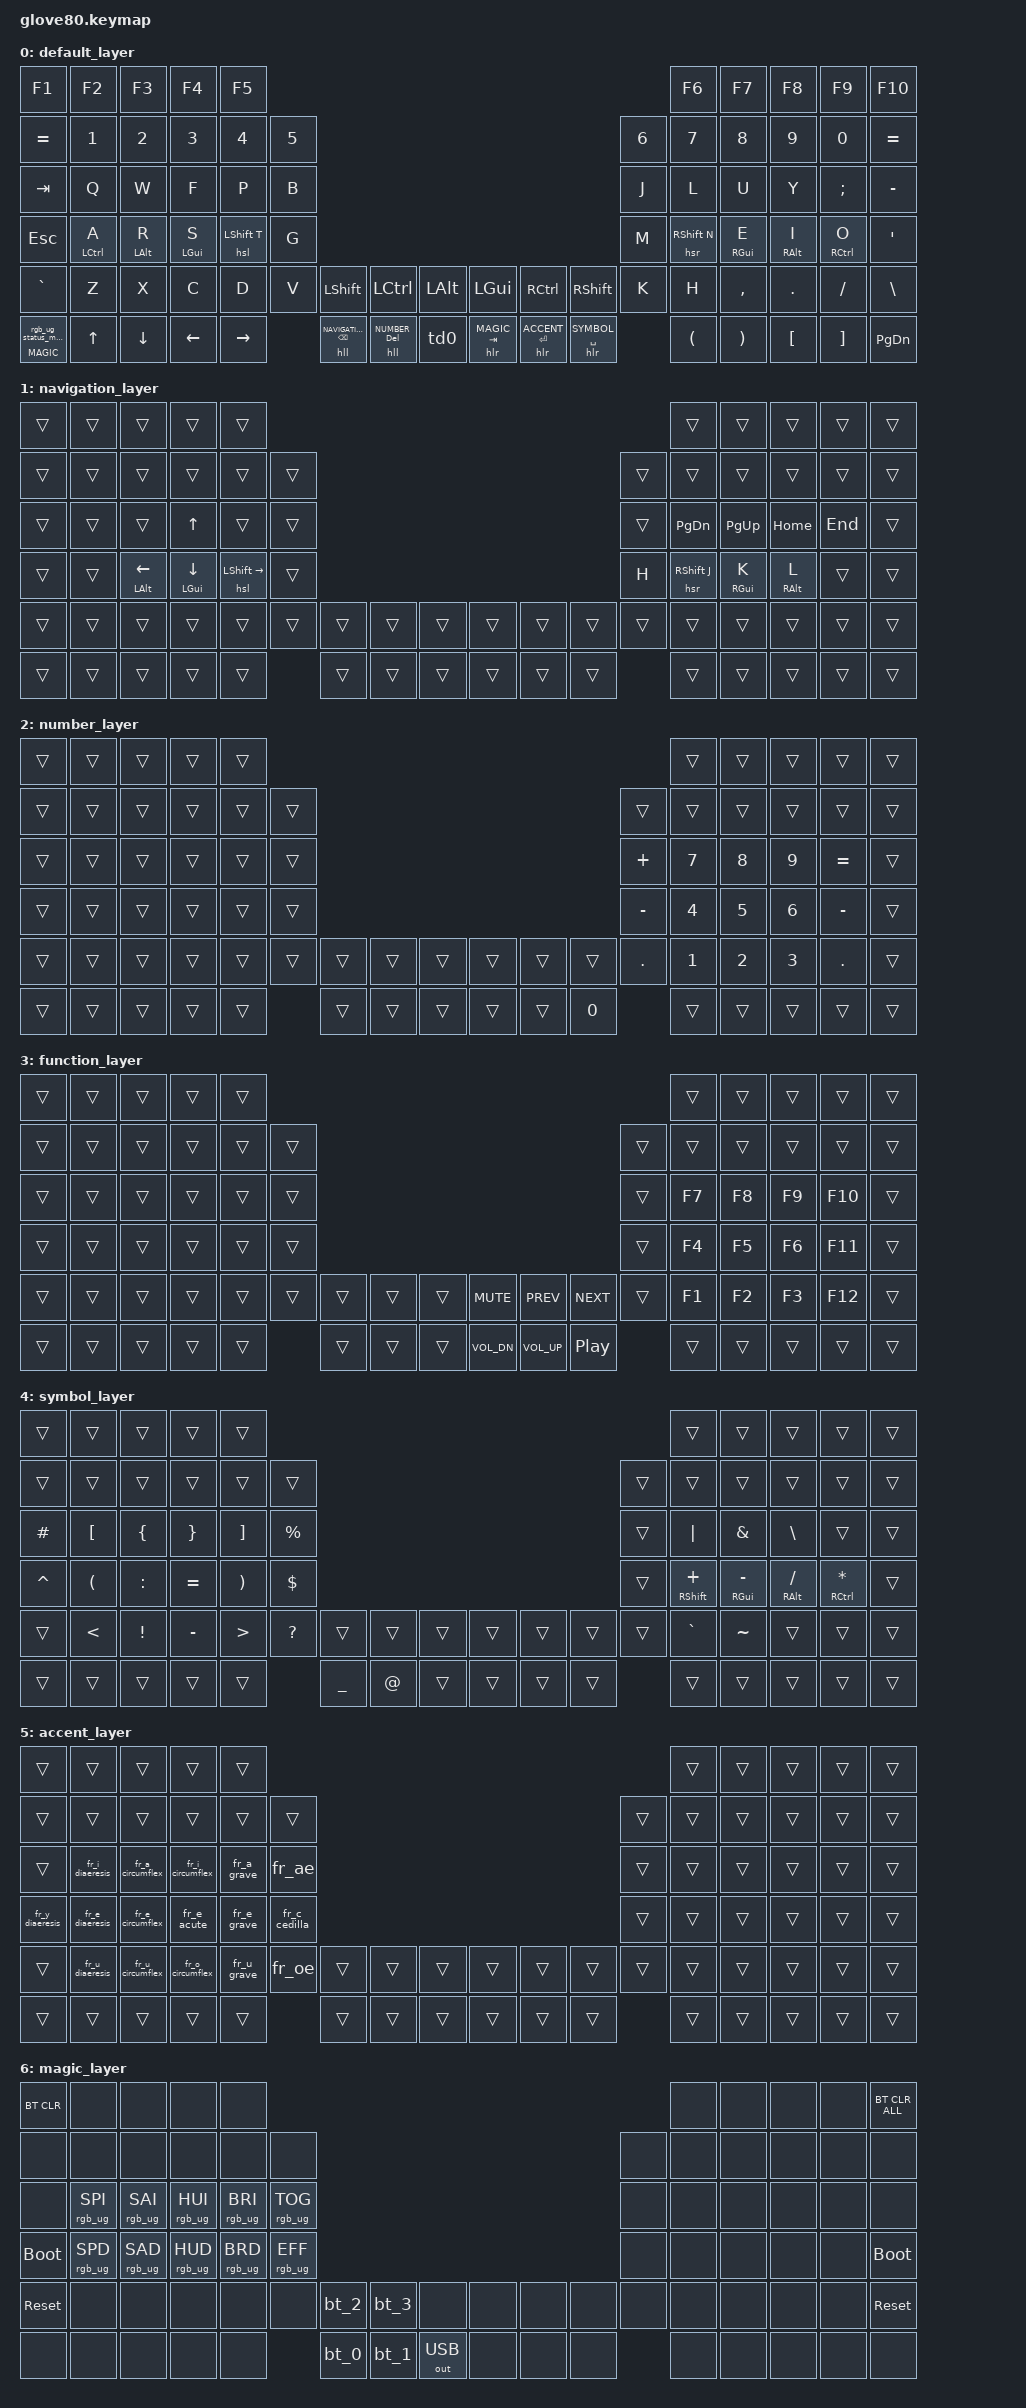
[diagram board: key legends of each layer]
#include <behaviors.dtsi>
#include <dt-bindings/zmk/keys.h>
#include <dt-bindings/zmk/bt.h>
#include <dt-bindings/zmk/ext_power.h>
#include <dt-bindings/zmk/outputs.h>
#include <dt-bindings/zmk/rgb.h>

#include "keypos_def/glove80.dtsi"
#include "layout/homerowmods.dtsi"
#include "layout/homerowmods.glove80.dtsi"

#define HOST_OS 2
#include "zmk-helpers/helper.h"
#include "zmk-helpers/unicode-chars/french.dtsi"

// layers
#define DEFAULT 0
#define NAVIGATION 1
#define NUMBER 2
#define FUNCTION 3
#define SYMBOL 4
#define ACCENT 5
#define MAGIC 6

// MoErgo specific rgb command
// https://github.com/moergo-sc/zmk/blob/faf11f929a65a12a688b481cbe333eda1fd83a77/app/include/dt-bindings/zmk/rgb.h
#define RGB_STATUS_CMD 15
#define RGB_STATUS RGB_STATUS_CMD 0

/ {
	behaviors {
		td0: tap_dance_0 {
			compatible = "zmk,behavior-tap-dance";
			#binding-cells = <0>;
			tapping-term-ms = <200>;
			bindings = <&mo FUNCTION>, <&caps_word>;
		};
	
		magic: magic_hold_tap {
			compatible = "zmk,behavior-hold-tap";
			label = "MAGIC_HOLD_TAP";
			#binding-cells = <2>;
			flavor = "tap-preferred";
			tapping-term-ms = <200>;
			bindings = <&mo>, <&rgb_ug_status_macro>;
		};
	};

    macros {
        rgb_ug_status_macro: rgb_ug_status_macro_0 {
            label = "RGB_UG_STATUS";
            compatible = "zmk,behavior-macro";
            #binding-cells = <0>;
            bindings
                = <&rgb_ug RGB_STATUS>;
        };

        bt_0: bt_profile_macro_0 {
            label = "BT_0";
            compatible = "zmk,behavior-macro";
            #binding-cells = <0>;
            bindings
                = <&out OUT_BLE>,
                  <&bt BT_SEL 0>;
        };

        bt_1: bt_profile_macro_1 {
            label = "BT_1";
            compatible = "zmk,behavior-macro";
            #binding-cells = <0>;
            bindings
                = <&out OUT_BLE>,
                  <&bt BT_SEL 1>;
        };

        bt_2: bt_profile_macro_2 {
            label = "BT_2";
            compatible = "zmk,behavior-macro";
            #binding-cells = <0>;
            bindings
                = <&out OUT_BLE>,
                  <&bt BT_SEL 2>;
        };

        bt_3: bt_profile_macro_3 {
            label = "BT_3";
            compatible = "zmk,behavior-macro";
            #binding-cells = <0>;
            bindings
                = <&out OUT_BLE>,
                  <&bt BT_SEL 3>;
        };
    };

    keymap {
        compatible = "zmk,keymap";

		default_layer {
            // ---------------------------------------------------------------------------------------------------------------------------------
            // |  F1   |  F2 |  F3 |  F4  |  F5  |                                                              |  F6   |  F7   |  F8  |   F9  |  F10 |
            // |  =    |  1  |  2  |  3   |  4   |  5   |                                                |  6   |   7   |   8   |  9   |   0   |   =  |
            // |  TAB  |  Q  |  W  |  F   |  P   |  B   |                                                |  J   |   L   |   U   |  Y   |   ;   |   -  |
            // |  ESC  |  A  |  R  |  S   |  T   |  G   |                                                |  M   |   N   |   E   |  I   |   O   |   '  |
            // |   `   |  Z  |  X  |  C   |  D   |  V   | LSHFT | LCTRL | LALT | | LGUI  | RCTRL | RSHFT |  K   |   H   |   ,   |  .   |   /   |   \  |
            // | MAGIC |  UP | DOWN| LEFT | RIGHT|      | BSPC  | DEL   | CAPW | | RALT  | RET   | SPACE |      |   (   |   )   |  [   |   ]   | PGDN |

            bindings = <
            &kp F1         &kp F2       &kp F3      &kp F4      &kp F5                                                                                                                       &kp F6       &kp F7      &kp F8      &kp F9       &kp F10
            &kp EQUAL      &kp N1       &kp N2      &kp N3      &kp N4       &kp N5                                                                                                 &kp N6   &kp N7       &kp N8      &kp N9      &kp N0       &kp EQUAL
            &kp TAB        &kp Q        &kp W       &kp F       &kp P        &kp B                                                                                                  &kp J    &kp L        &kp U       &kp Y       &kp SEMI     &kp MINUS
			&kp ESC        &hml LCTRL A &hml LALT R &hml LGUI S &hsl LSHFT T &kp G                                                                                                  &kp M    &hsr RSHFT N &hmr RGUI E &hmr RALT I &hmr RCTRL O &kp SQT
            &kp GRAVE      &kp Z        &kp X       &kp C       &kp D        &kp V   &kp LSHFT            &kp LCTRL       &kp LALT &kp LGUI       &kp RCTRL       &kp RSHFT         &kp K    &kp H        &kp COMMA   &kp DOT     &kp FSLH     &kp BSLH
            &magic MAGIC 0 &kp UP       &kp DOWN    &kp LEFT    &kp RIGHT            &hll NAVIGATION BSPC &hll NUMBER DEL &td0     &hlr MAGIC TAB &hlr ACCENT RET &hlr SYMBOL SPACE          &kp LPAR     &kp RPAR    &kp LBKT    &kp RBKT     &kp PG_DN
            >;
		};

		navigation_layer {
			bindings = <
			&trans &trans &trans         &trans         &trans                                                                   &trans       &trans      &trans      &trans  &trans
			&trans &trans &trans         &trans         &trans           &trans                                           &trans &trans       &trans      &trans      &trans  &trans
			&trans &trans &trans         &kp UP         &trans           &trans                                           &trans &kp PG_DN    &kp PG_UP   &kp HOME    &kp END &trans
			&trans &trans &hml LALT LEFT &hml LGUI DOWN &hsl LSHFT RIGHT &trans                                           &kp H  &hsr RSHFT J &hmr RGUI K &hmr RALT L &trans  &trans
			&trans &trans &trans         &trans         &trans           &trans &trans &trans &trans &trans &trans &trans &trans &trans       &trans      &trans      &trans  &trans
			&trans &trans &trans         &trans         &trans                  &trans &trans &trans &trans &trans &trans        &trans       &trans      &trans      &trans  &trans
			>;
		};
		
		number_layer {
			bindings = <
            &trans &trans &trans &trans &trans                                                            &trans &trans &trans &trans    &trans
            &trans &trans &trans &trans &trans &trans                                           &trans    &trans &trans &trans &trans    &trans
            &trans &trans &trans &trans &trans &trans                                           &kp PLUS  &kp N7 &kp N8 &kp N9 &kp EQUAL &trans
            &trans &trans &trans &trans &trans &trans                                           &kp MINUS &kp N4 &kp N5 &kp N6 &kp MINUS &trans
            &trans &trans &trans &trans &trans &trans &trans &trans &trans &trans &trans &trans &kp DOT   &kp N1 &kp N2 &kp N3 &kp DOT   &trans
            &trans &trans &trans &trans &trans        &trans &trans &trans &trans &trans &kp N0           &trans &trans &trans &trans    &trans
			>;
		};

		function_layer {
			bindings = <
            &trans &trans &trans &trans &trans                                                                               &trans &trans &trans &trans  &trans
            &trans &trans &trans &trans &trans &trans                                                                 &trans &trans &trans &trans &trans  &trans
            &trans &trans &trans &trans &trans &trans                                                                 &trans &kp F7 &kp F8 &kp F9 &kp F10 &trans
            &trans &trans &trans &trans &trans &trans                                                                 &trans &kp F4 &kp F5 &kp F6 &kp F11 &trans
            &trans &trans &trans &trans &trans &trans &trans &trans &trans &kp C_MUTE   &kp C_PREV   &kp C_NEXT       &trans &kp F1 &kp F2 &kp F3 &kp F12 &trans
            &trans &trans &trans &trans &trans        &trans &trans &trans &kp C_VOL_DN &kp C_VOL_UP &kp C_PLAY_PAUSE        &trans &trans &trans &trans  &trans
			>;
		};

		symbol_layer {
			bindings = <
            &trans &trans &trans &trans &trans                                                                            &trans          &trans          &trans         &trans          &trans
            &trans &trans &trans &trans &trans &trans                                                              &trans &trans          &trans          &trans         &trans          &trans
			&kp HASH  &kp LBKT &kp LBRC  &kp RBRC  &kp RBKT &kp PRCNT                                              &trans &kp PIPE        &kp AMPS        &kp BSLH       &trans          &trans
			&kp CARET &kp LPAR &kp COLON &kp EQUAL &kp RPAR &kp DLLR                                               &trans &hmr RSHFT PLUS &hmr RGUI MINUS &hmr RALT FSLH &hmr RCTRL STAR &trans
            &trans    &kp LT   &kp EXCL  &kp MINUS &kp GT   &kp QMARK &trans    &trans &trans &trans &trans &trans &trans &kp GRAVE       &kp TILDE       &trans         &trans          &trans
			&trans    &trans   &trans    &trans    &trans             &kp UNDER &kp AT &trans &trans &trans &trans        &trans          &trans          &trans         &trans          &trans
			>;
		};

		accent_layer {
			bindings = <
            &trans          &trans          &trans           &trans           &trans                                                                     &trans &trans &trans &trans &trans
            &trans          &trans          &trans           &trans           &trans      &trans                                                  &trans &trans &trans &trans &trans &trans
            &trans          &fr_i_diaeresis &fr_a_circumflex &fr_i_circumflex &fr_a_grave &fr_ae                                                  &trans &trans &trans &trans &trans &trans
            &fr_y_diaeresis &fr_e_diaeresis &fr_e_circumflex &fr_e_acute      &fr_e_grave &fr_c_cedilla                                           &trans &trans &trans &trans &trans &trans
            &trans          &fr_u_diaeresis &fr_u_circumflex &fr_o_circumflex &fr_u_grave &fr_oe        &trans &trans &trans &trans &trans &trans &trans &trans &trans &trans &trans &trans
            &trans          &trans          &trans           &trans           &trans                    &trans &trans &trans &trans &trans &trans        &trans &trans &trans &trans &trans
			>;
		};
		
        magic_layer {
            bindings = <
            &bt BT_CLR        &none               &none           &none           &none                                                                                                           &none      &none      &none      &none      &bt BT_CLR_ALL
            &none             &none               &none           &none           &none           &none                                                                                &none      &none      &none      &none      &none      &none
            &none             &rgb_ug RGB_SPI     &rgb_ug RGB_SAI &rgb_ug RGB_HUI &rgb_ug RGB_BRI &rgb_ug RGB_TOG                                                                      &none      &none      &none      &none      &none      &none
            &bootloader       &rgb_ug RGB_SPD     &rgb_ug RGB_SAD &rgb_ug RGB_HUD &rgb_ug RGB_BRD &rgb_ug RGB_EFF                                                                      &none      &none      &none      &none      &none      &bootloader
            &sys_reset        &none               &none           &none           &none           &none           &bt_2     &bt_3     &none            &none     &none     &none       &none      &none      &none      &none      &none      &sys_reset
            &none             &none               &none           &none           &none                           &bt_0     &bt_1     &out OUT_USB     &none     &none     &none                  &none      &none      &none      &none      &none
            >;
        };
	};
};
